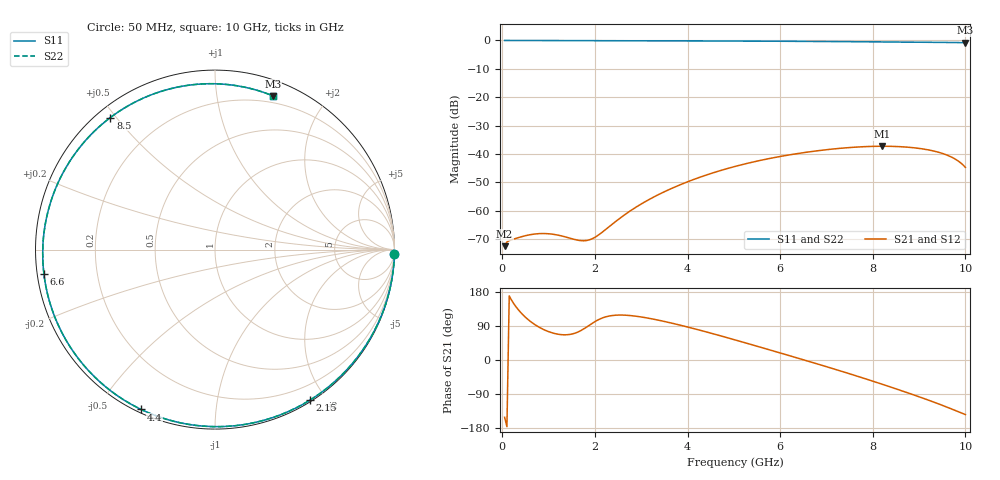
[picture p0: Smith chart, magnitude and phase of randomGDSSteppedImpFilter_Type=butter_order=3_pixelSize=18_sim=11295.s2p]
! freq	dB(S11)	phase(S11)	dB(S12)	phase(S12)
!  dB(S21)	phase(S21)	dB(S22)	phase(S22)
!S-par simulation data
#  GHz  S  DB  R 50
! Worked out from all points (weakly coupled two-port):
!   200 points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, 50 MHz to 10 GHz, reference 50 ohm
!   highest |S21| = -37.24 dB at 8.2 GHz (marker M1); lowest = -72.4 dB at 50 MHz (marker M2)
!   lowest |S11| = -0.8 dB at 10 GHz (marker M3), VSWR 22.65, Z = 6.8 + j71.9 ohm
!   |S11| at or under -10 dB: nowhere
!   |S22| runs from -0.8 to 0.0 dB; largest |S21 - S12| = 0
!   S11 on the Smith chart (normalised r, x): 50 MHz: 0, -83; 2.15 GHz: 0.02, -1.81; 4.4 GHz: 0.01, -0.64; 6.6 GHz: 0.02, -0.07; 8.5 GHz: 0.04, +0.48; 10 GHz: 0.14, +1.44
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0.05  -0.00 -1.4  -72.43 -151.1  -72.43 -151.1  -0.00 -1.4
0.15  -0.00 -4.1  -70.47 169.2  -70.47 169.2  -0.00 -4.1
0.75  -0.02 -20.6  -68.06 89.7  -68.06 89.7  -0.02 -20.6
1.1  -0.04 -30.0  -68.24 70.9  -68.24 70.9  -0.04 -30.0
1.75  -0.06 -47.4  -70.53 81.4  -70.53 81.4  -0.06 -47.4
1.95  -0.07 -52.6  -69.74 97.5  -69.74 97.5  -0.07 -52.6
2.15  -0.07 -57.8  -67.62 110.4  -67.62 110.4  -0.07 -57.9
2.75  -0.09 -73.3  -60.15 117.4  -60.15 117.4  -0.09 -73.4
3.4  -0.12 -89.8  -54.05 104.4  -54.05 104.4  -0.12 -89.9
4.4  -0.16 -114.8  -47.41 74.3  -47.41 74.3  -0.16 -114.9
5.05  -0.20 -131.1  -44.25 52.2  -44.25 52.2  -0.20 -131.2
5.85  -0.26 -151.6  -41.30 24.0  -41.30 24.0  -0.26 -151.7
6.6  -0.33 -171.9  -39.28 -2.9  -39.28 -2.9  -0.33 -171.9
6.7  -0.34 -174.7  -39.06 -6.6  -39.06 -6.6  -0.34 -174.7
7.45  -0.42 163.3  -37.76 -34.4  -37.76 -34.4  -0.42 163.2
8.2  -0.51 138.9  -37.24 -63.8  -37.24 -63.8  -0.51 138.8
8.35  -0.53 133.7  -37.26 -69.9  -37.26 -69.9  -0.53 133.6
8.5  -0.55 128.4  -37.33 -76.0  -37.33 -76.0  -0.55 128.3
9  -0.61 109.8  -38.00 -97.1  -38.00 -97.1  -0.62 109.8
9.45  -0.68 92.1  -39.50 -117.2  -39.50 -117.2  -0.68 92.0
9.75  -0.72 79.8  -41.49 -131.7  -41.49 -131.7  -0.73 79.7
10  -0.77 69.3  -44.68 -144.0  -44.68 -144.0  -0.77 69.2
